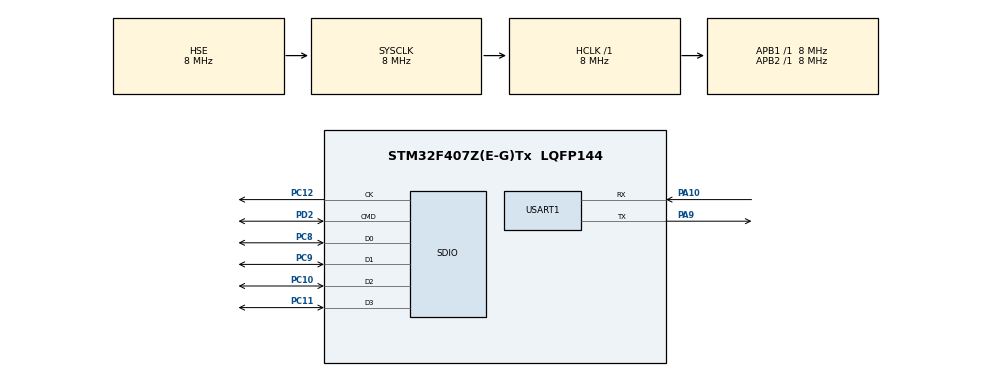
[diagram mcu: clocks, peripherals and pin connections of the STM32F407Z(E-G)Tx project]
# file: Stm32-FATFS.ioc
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Dma.Request0=USART1_RX
Dma.Request1=USART1_TX
Dma.Request2=SDIO_RX
Dma.Request3=SDIO_TX
Dma.SDIO_RX.2.Direction=DMA_PERIPH_TO_MEMORY
Dma.SDIO_RX.2.FIFOMode=DMA_FIFOMODE_ENABLE
Dma.SDIO_RX.2.FIFOThreshold=DMA_FIFO_THRESHOLD_FULL
Dma.SDIO_RX.2.Instance=DMA2_Stream3
Dma.SDIO_RX.2.MemBurst=DMA_MBURST_INC4
Dma.SDIO_RX.2.MemDataAlignment=DMA_MDATAALIGN_WORD
Dma.SDIO_RX.2.MemInc=DMA_MINC_ENABLE
Dma.SDIO_RX.2.Mode=DMA_PFCTRL
Dma.SDIO_RX.2.PeriphBurst=DMA_PBURST_INC4
Dma.SDIO_RX.2.PeriphDataAlignment=DMA_PDATAALIGN_WORD
Dma.SDIO_RX.2.PeriphInc=DMA_PINC_DISABLE
Dma.SDIO_RX.2.Priority=DMA_PRIORITY_LOW
Dma.SDIO_TX.3.Direction=DMA_MEMORY_TO_PERIPH
Dma.SDIO_TX.3.FIFOMode=DMA_FIFOMODE_ENABLE
Dma.SDIO_TX.3.FIFOThreshold=DMA_FIFO_THRESHOLD_FULL
Dma.SDIO_TX.3.Instance=DMA2_Stream6
Dma.SDIO_TX.3.MemBurst=DMA_MBURST_INC4
Dma.SDIO_TX.3.MemDataAlignment=DMA_MDATAALIGN_WORD
Dma.SDIO_TX.3.MemInc=DMA_MINC_ENABLE
Dma.SDIO_TX.3.Mode=DMA_PFCTRL
Dma.SDIO_TX.3.PeriphBurst=DMA_PBURST_INC4
Dma.SDIO_TX.3.PeriphDataAlignment=DMA_PDATAALIGN_WORD
Dma.SDIO_TX.3.PeriphInc=DMA_PINC_DISABLE
Dma.SDIO_TX.3.Priority=DMA_PRIORITY_LOW
Dma.USART1_RX.0.Direction=DMA_PERIPH_TO_MEMORY
Dma.USART1_RX.0.FIFOMode=DMA_FIFOMODE_DISABLE
Dma.USART1_RX.0.Instance=DMA2_Stream2
Dma.USART1_RX.0.MemDataAlignment=DMA_MDATAALIGN_BYTE
Dma.USART1_RX.0.MemInc=DMA_MINC_ENABLE
Dma.USART1_RX.0.Mode=DMA_NORMAL
Dma.USART1_RX.0.PeriphDataAlignment=DMA_PDATAALIGN_BYTE
Dma.USART1_RX.0.PeriphInc=DMA_PINC_DISABLE
Dma.USART1_RX.0.Priority=DMA_PRIORITY_LOW
Dma.USART1_TX.1.Direction=DMA_MEMORY_TO_PERIPH
Dma.USART1_TX.1.FIFOMode=DMA_FIFOMODE_DISABLE
Dma.USART1_TX.1.Instance=DMA2_Stream7
Dma.USART1_TX.1.MemDataAlignment=DMA_MDATAALIGN_BYTE
Dma.USART1_TX.1.MemInc=DMA_MINC_ENABLE
Dma.USART1_TX.1.Mode=DMA_NORMAL
Dma.USART1_TX.1.PeriphDataAlignment=DMA_PDATAALIGN_BYTE
Dma.USART1_TX.1.PeriphInc=DMA_PINC_DISABLE
Dma.USART1_TX.1.Priority=DMA_PRIORITY_LOW
FATFS._CODE_PAGE=936
FATFS._USE_LFN=2
FREERTOS.Tasks01=WriteTask,0,1024,StartWriteTask,Default,NULL,Dynamic,NULL,NULL;SendTask,0,1024,StartSendTask,Default,NULL,Dynamic,NULL,NULL
FREERTOS.configMINIMAL_STACK_SIZE=1024
Mcu.Family=STM32F4
Mcu.Name=STM32F407Z(E-G)Tx
Mcu.Package=LQFP144
NVIC.DMA2_Stream2_IRQn=true\:5\:0\:false\:false\:true\:true\:false\:true
NVIC.DMA2_Stream3_IRQn=true\:5\:0\:false\:false\:true\:true\:false\:true
NVIC.DMA2_Stream6_IRQn=true\:5\:0\:false\:false\:true\:true\:false\:true
NVIC.DMA2_Stream7_IRQn=true\:5\:0\:false\:false\:true\:true\:false\:true
NVIC.PriorityGroup=NVIC_PRIORITYGROUP_4
NVIC.SDIO_IRQn=true\:5\:0\:false\:false\:true\:true\:true\:true
NVIC.TIM1_UP_TIM10_IRQn=true\:15\:0\:false\:false\:true\:false\:false\:true
NVIC.TimeBase=TIM1_UP_TIM10_IRQn
NVIC.TimeBaseIP=TIM1
NVIC.USART1_IRQn=true\:5\:0\:false\:false\:true\:true\:true\:true
PA10.Mode=Asynchronous
PA10.Signal=USART1_RX
PA13.Mode=Serial_Wire
PA13.Signal=SYS_JTMS-SWDIO
PA14.Mode=Serial_Wire
PA14.Signal=SYS_JTCK-SWCLK
PA9.Mode=Asynchronous
PA9.Signal=USART1_TX
PC10.Mode=SD_4_bits_Wide_bus
PC10.Signal=SDIO_D2
PC11.Mode=SD_4_bits_Wide_bus
PC11.Signal=SDIO_D3
PC12.Mode=SD_4_bits_Wide_bus
PC12.Signal=SDIO_CK
PC14-OSC32_IN.Mode=LSE-External-Oscillator
PC14-OSC32_IN.Signal=RCC_OSC32_IN
PC15-OSC32_OUT.Mode=LSE-External-Oscillator
PC15-OSC32_OUT.Signal=RCC_OSC32_OUT
PC8.Mode=SD_4_bits_Wide_bus
PC8.Signal=SDIO_D0
PC9.Mode=SD_4_bits_Wide_bus
PC9.Signal=SDIO_D1
PD2.Mode=SD_4_bits_Wide_bus
PD2.Signal=SDIO_CMD
PH0-OSC_IN.Mode=HSE-External-Oscillator
PH0-OSC_IN.Signal=RCC_OSC_IN
PH1-OSC_OUT.Mode=HSE-External-Oscillator
PH1-OSC_OUT.Signal=RCC_OSC_OUT
ProjectManager.HeapSize=0x2000
ProjectManager.StackSize=0x2000
ProjectManager.TargetToolchain=STM32CubeIDE
RCC.48MHZClocksFreq_Value=32000000
RCC.AHBFreq_Value=8000000
RCC.APB1Freq_Value=8000000
RCC.APB1TimFreq_Value=8000000
RCC.APB2Freq_Value=8000000
RCC.APB2TimFreq_Value=8000000
RCC.CortexFreq_Value=8000000
RCC.HCLKFreq_Value=8000000
RCC.HSE_VALUE=8000000
RCC.HSI_VALUE=16000000
RCC.INSTRUCTION_CACHE_ENABLE=1
RCC.PLLM=8
RCC.PLLN=128
RCC.PLLP=RCC_PLLP_DIV4
RCC.PLLQ=8
RCC.PWR_Regulator_Voltage_Scale=PWR_REGULATOR_VOLTAGE_SCALE1
RCC.SYSCLKFreq_VALUE=8000000
RCC.SYSCLKSource=RCC_SYSCLKSOURCE_HSE
RCC.VCOOutputFreq_Value=256000000
SDIO.ClockDiv=4
USART1.VirtualMode=VM_ASYNC
VP_FATFS_VS_SDIO.Mode=SDIO
VP_FREERTOS_VS_CMSIS_V1.Mode=CMSIS_V1
VP_SYS_VS_tim1.Mode=TIM1
board=custom

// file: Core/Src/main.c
/* USER CODE BEGIN Header */
/**
  ******************************************************************************
  * @file           : main.c
  * @brief          : Main program body
  ******************************************************************************
  * @attention
  *
  * <h2><center>&copy; Copyright (c) 2022 STMicroelectronics.
  * All rights reserved.</center></h2>
  *
  * This software component is licensed by ST under Ultimate Liberty license
  * SLA0044, the "License"; You may not use this file except in compliance with
  * the License. You may obtain a copy of the License at:
  *                             www.st.com/SLA0044
  *
  ******************************************************************************
  */
/* USER CODE END Header */
#include "main.h"
#include "cmsis_os.h"
#include "fatfs.h"

/* USER CODE BEGIN Includes */
#include "stdio.h"
#include "string.h"
/* USER CODE END Includes */

/* USER CODE BEGIN PTD */
typedef enum {
    FS_WELCOME=0,
    FS_NAME_FILE,
    FS_NAME_PATH,
    FS_DELETE,
    FS_TEXT,
    FS_READ
} FS_STATUS;
/* USER CODE END PTD */

/* USER CODE BEGIN PD */
#define print(str) HAL_UART_Transmit_DMA(&huart1, (uint8_t *)(str), strlen(str)); osDelay(10)
/* USER CODE END PD */

SD_HandleTypeDef hsd;
DMA_HandleTypeDef hdma_sdio_rx;
DMA_HandleTypeDef hdma_sdio_tx;

UART_HandleTypeDef huart1;
DMA_HandleTypeDef hdma_usart1_rx;
DMA_HandleTypeDef hdma_usart1_tx;

osThreadId WriteTaskHandle;
osThreadId SendTaskHandle;
/* USER CODE BEGIN PV */
uint8_t SerialBuf[BUFFERSIZE];
unsigned char bRecFlag = 0;
unsigned char iLength = 0;
FS_STATUS Status = 0;
/* USER CODE END PV */

void SystemClock_Config(void);
static void MX_GPIO_Init(void);
static void MX_SDIO_SD_Init(void);
static void MX_DMA_Init(void);
static void MX_USART1_UART_Init(void);
void StartWriteTask(void const * argument);
void StartSendTask(void const * argument);

/* USER CODE BEGIN PFP */
void WARNING(FRESULT res);
void Welcome_Page(void);
FRESULT scan_files(const TCHAR*);
//FRESULT split_file_path(const uint8_t *file_path, char* file_name);
/* USER CODE END PFP */

/* USER CODE BEGIN 0 */
void WARNING(FRESULT res)
{
    char local_temp[64];
    sprintf(local_temp, "Something wrong. Code: %d\r\n", res);
    print(local_temp);
    print("Return to Welcome Page.\r\n");
}

void Welcome_Page(void)
{
    print("Welcome to the FATFS System. Please choose your operation.\r\n");
    print("(For example, Input 'C1' for Operation 1)\r\n");
    print("1. List all files currently\r\n");
    print("2. Create a new file\r\n");
    print("3. Create a new directory\r\n");
    print("4. Delete a existed file\r\n");
    print("5. Modify a file (Enter 'q/Q' to quit)\r\n");
    print("6. Read a file\r\n");
    print("********************\r\n");
}

FRESULT scan_files(const TCHAR* path)
{
    static FILINFO fno;     // Define file information obj
    FRESULT res;            // Define result obj
    DIR dir;                // Define directory obj
    char pathBuf[32]={0};      // Define path array
    char fileBuf[64]={0};       // Define file array
    unsigned char i;

    memcpy(pathBuf, path, strlen(path));
    res = f_opendir(&dir, path);
    if(res == FR_OK)
    {
        for(;;)
        {
            res = f_readdir(&dir, &fno); // Read directory, Return the result and point to file information
            if(res != FR_OK || fno.fname[0] == 0) // Open failed or end of diretory
                break;
            if(fno.fattrib == AM_DIR)   // This is a directory instead of file
            {
                i = strlen(pathBuf);    // Get the path's original length
                sprintf(&pathBuf[i], "/%s", fno.fname);
                res = scan_files(pathBuf);
                if(res != FR_OK)
                    break;
                pathBuf[i] = 0;
            }
            else
            {
                sprintf(fileBuf, "--%s/%s\r\n", path, fno.fname);
                print(fileBuf);
            }
        }
    }
    else
    {
        char temp[64];
        sprintf(temp, "Open Directory Failed. Please Check: %s\r\n", (const char *)(res+'0'));
        print(temp);
    }

    f_closedir(&dir);   // close directory
    return res;
}
/* USER CODE END 0 */

int main(void)
{

    /* MCU Configuration--------------------------------------------------------*/

    /* Reset of all peripherals, Initializes the Flash interface and the Systick. */
    HAL_Init();

    /* Configure the system clock */
    SystemClock_Config();

    /* Initialize all configured peripherals */
    MX_GPIO_Init();
    MX_SDIO_SD_Init();
    MX_DMA_Init();
    MX_USART1_UART_Init();
    MX_FATFS_Init();
    /* USER CODE BEGIN 2 */
    print("******** Stm32-FATFS Program ********\r\n");
    /* USER CODE END 2 */

    /* Create the thread(s) */
    /* definition and creation of WriteTask */
    osThreadDef(WriteTask, StartWriteTask, osPriorityNormal, 0, 1024);
    WriteTaskHandle = osThreadCreate(osThread(WriteTask), NULL);

    /* definition and creation of SendTask */
    osThreadDef(SendTask, StartSendTask, osPriorityNormal, 0, 1024);
    SendTaskHandle = osThreadCreate(osThread(SendTask), NULL);

    /* Start scheduler */
    osKernelStart();

    /* We should never get here as control is now taken by the scheduler */
    /* Infinite loop */
    while (1)
    {

    }
}

void SystemClock_Config(void)
{
    RCC_OscInitTypeDef RCC_OscInitStruct = {0};
    RCC_ClkInitTypeDef RCC_ClkInitStruct = {0};

    /** Configure the main internal regulator output voltage
    */
    __HAL_RCC_PWR_CLK_ENABLE();
    __HAL_PWR_VOLTAGESCALING_CONFIG(PWR_REGULATOR_VOLTAGE_SCALE1);
    /** Initializes the RCC Oscillators according to the specified parameters
    * in the RCC_OscInitTypeDef structure.
    */
    RCC_OscInitStruct.OscillatorType = RCC_OSCILLATORTYPE_HSI|RCC_OSCILLATORTYPE_HSE;
    RCC_OscInitStruct.HSEState = RCC_HSE_ON;
    RCC_OscInitStruct.HSIState = RCC_HSI_ON;
    RCC_OscInitStruct.HSICalibrationValue = RCC_HSICALIBRATION_DEFAULT;
    RCC_OscInitStruct.PLL.PLLState = RCC_PLL_ON;
    RCC_OscInitStruct.PLL.PLLSource = RCC_PLLSOURCE_HSI;
    RCC_OscInitStruct.PLL.PLLM = 8;
    RCC_OscInitStruct.PLL.PLLN = 128;
    RCC_OscInitStruct.PLL.PLLP = RCC_PLLP_DIV4;
    RCC_OscInitStruct.PLL.PLLQ = 8;
    if (HAL_RCC_OscConfig(&RCC_OscInitStruct) != HAL_OK)
    {
        Error_Handler();
    }
    /** Initializes the CPU, AHB and APB buses clocks
    */
    RCC_ClkInitStruct.ClockType = RCC_CLOCKTYPE_HCLK|RCC_CLOCKTYPE_SYSCLK
                                  |RCC_CLOCKTYPE_PCLK1|RCC_CLOCKTYPE_PCLK2;
    RCC_ClkInitStruct.SYSCLKSource = RCC_SYSCLKSOURCE_HSE;
    RCC_ClkInitStruct.AHBCLKDivider = RCC_SYSCLK_DIV1;
    RCC_ClkInitStruct.APB1CLKDivider = RCC_HCLK_DIV1;
    RCC_ClkInitStruct.APB2CLKDivider = RCC_HCLK_DIV1;

    if (HAL_RCC_ClockConfig(&RCC_ClkInitStruct, FLASH_LATENCY_0) != HAL_OK)
    {
        Error_Handler();
    }
}

static void MX_SDIO_SD_Init(void)
{

    hsd.Instance = SDIO;
    hsd.Init.ClockEdge = SDIO_CLOCK_EDGE_RISING;
    hsd.Init.ClockBypass = SDIO_CLOCK_BYPASS_DISABLE;
    hsd.Init.ClockPowerSave = SDIO_CLOCK_POWER_SAVE_DISABLE;
    hsd.Init.BusWide = SDIO_BUS_WIDE_1B;
    hsd.Init.HardwareFlowControl = SDIO_HARDWARE_FLOW_CONTROL_DISABLE;
    hsd.Init.ClockDiv = 4;

}

static void MX_USART1_UART_Init(void)
{

    huart1.Instance = USART1;
    huart1.Init.BaudRate = 115200;
    huart1.Init.WordLength = UART_WORDLENGTH_8B;
    huart1.Init.StopBits = UART_STOPBITS_1;
    huart1.Init.Parity = UART_PARITY_NONE;
    huart1.Init.Mode = UART_MODE_TX_RX;
    huart1.Init.HwFlowCtl = UART_HWCONTROL_NONE;
    huart1.Init.OverSampling = UART_OVERSAMPLING_16;
    if (HAL_UART_Init(&huart1) != HAL_OK)
    {
        Error_Handler();
    }
    /* USER CODE BEGIN USART1_Init 2 */
    __HAL_UART_ENABLE_IT(&huart1, UART_IT_IDLE);
    /* USER CODE END USART1_Init 2 */

}

static void MX_DMA_Init(void)
{

    /* DMA controller clock enable */
    __HAL_RCC_DMA2_CLK_ENABLE();

    /* DMA interrupt init */
    /* DMA2_Stream2_IRQn interrupt configuration */
    HAL_NVIC_SetPriority(DMA2_Stream2_IRQn, 5, 0);
    HAL_NVIC_EnableIRQ(DMA2_Stream2_IRQn);
    /* DMA2_Stream3_IRQn interrupt configuration */
    HAL_NVIC_SetPriority(DMA2_Stream3_IRQn, 5, 0);
    HAL_NVIC_EnableIRQ(DMA2_Stream3_IRQn);
    /* DMA2_Stream6_IRQn interrupt configuration */
    HAL_NVIC_SetPriority(DMA2_Stream6_IRQn, 5, 0);
    HAL_NVIC_EnableIRQ(DMA2_Stream6_IRQn);
    /* DMA2_Stream7_IRQn interrupt configuration */
    HAL_NVIC_SetPriority(DMA2_Stream7_IRQn, 5, 0);
    HAL_NVIC_EnableIRQ(DMA2_Stream7_IRQn);

}

static void MX_GPIO_Init(void)
{

    /* GPIO Ports Clock Enable */
    __HAL_RCC_GPIOC_CLK_ENABLE();
    __HAL_RCC_GPIOH_CLK_ENABLE();
    __HAL_RCC_GPIOA_CLK_ENABLE();
    __HAL_RCC_GPIOD_CLK_ENABLE();

}

void StartWriteTask(void const * argument)
{
    /* USER CODE BEGIN 5 */
    /* Infinite loop */
    for(;;)
    {
        osDelay(1000);
    }
    /* USER CODE END 5 */
}

void StartSendTask(void const * argument)
{
    /* USER CODE BEGIN StartSendTask */
    FATFS FatFs;
    // The Controller state machine
    HAL_UART_Receive_DMA(&huart1, (uint8_t *)SerialBuf, sizeof SerialBuf);
    // Enter Welcome Page if SD mounted succeed
    if(f_mount(&FatFs, SDPath, 0) == FR_OK)
        Welcome_Page();
    /* Infinite loop */
    for(;;)
    {
        if(bRecFlag)
        {
            // 1. Receive
            uint8_t datalength = BUFFERSIZE - __HAL_DMA_GET_COUNTER(&hdma_usart1_rx);
            iLength += datalength;
            // 2. Analyze message
            char temp[2] = {0};
            switch (Status)
            {
                case FS_WELCOME:
                    if( datalength != 2)
                    {
                        print("Invalid input. Please input again.\r\n");
                        break;
                    }
                    memcpy(temp, SerialBuf, 2);
                    if(memcmp(temp, "C1", 2) == 0)
                    {
                        // List all files
                        scan_files("0:");
                    }else if(memcmp(temp, "C2", 2) == 0)
                    {
                        // Create a new file
                        print("Enter complete path of the file to Create, like '0:/02-22/Test.TXT'\r\n");
                        Status = FS_NAME_FILE;
                    }else if(memcmp(temp, "C3", 2) == 0)
                    {
                        // Create a new directory
                        print("Enter name of the directory, like '02-22'\r\n");
                        Status = FS_NAME_PATH;
                    }else if(memcmp(temp, "C4", 2) == 0)
                    {
                        // Delete a existed file
                        print("Enter complete path of the file to Delete, like '0:/02-22/Test.TXT'\r\n");
                        Status = FS_DELETE;
                    }else if(memcmp(temp, "C5", 2) == 0)
                    {
                        // Modify a file
                        print("Enter complete path of the file to Modify, like '0:/02-22/Test.TXT'\r\n");
                        Status = FS_TEXT;
                    }else if(memcmp(temp, "C6", 2) == 0)
                    {
                        print("Enter complete path of the file to Read, like '0:/02-22/Test.TXT'\r\n");
                        Status = FS_READ;
                    }
                    break;
                case FS_NAME_FILE:
                {
                    // 1. Split the name, directory
                    TCHAR file_name[32]={0};
                    FRESULT res;
                    memcpy(file_name, SerialBuf, strlen((const char *)SerialBuf));
                    FIL file={0};
                    // 2. Create the new file
                    res = f_open(&file, file_name, FA_CREATE_NEW | FA_READ | FA_WRITE);
                    if(res == FR_OK)
                    {
                        print("File Created!\r\n");
                        f_close(&file);
                    } else WARNING(res);
                    // 3. Return to Welcome Page
                    Status = FS_WELCOME;
                    break;
                }
                case FS_NAME_PATH:  // Basically same with FS_NAME_FILE
                {
                    // 1. Get the path
                    char path[32]={0};
                    FRESULT res;
                    memcpy(path, SerialBuf, strlen((const char *)SerialBuf));
                    // 2. Create the new directory
                    res = f_mkdir(path);
                    if(res == FR_OK)
                    {
                        print("Create Directory Succeed!\r\n");
                    } else WARNING(res);
                    // 3. Return to Welcome Page
                    Status = FS_WELCOME;
                    break;
                }
                case FS_DELETE:
                {
                    // 1. Get the path
                    FRESULT res;
                    char path[32]={0};
                    memcpy(path, SerialBuf, strlen((const char *)SerialBuf));
                    // 2. Create the new directory
                    res = f_unlink(path);
                    if(res == FR_OK)
                    {
                        print("File Deleted!\r\n");
                    } else WARNING(res);
                    // 3. Return to Welcome Page
                    Status = FS_WELCOME;
                    break;
                }
                case FS_TEXT:
                {
                    static char path[32] = {0};
                    char writeBuf[BUFFERSIZE] = {0};
                    FIL file={0};

                    // 0. Get File Name at the first time
                    if((*path) == '\0')
                    {
                        memcpy(path, SerialBuf, strlen((const char *)SerialBuf));
                        print("Enter Your words row-wise: \r\n");
                        break;
                    }
                    // 1. Check if jump out
                    if(iLength == 1 && (SerialBuf[0] == 'q' || SerialBuf[0] == 'Q'))
                    {
                        print("Files Modified\r\n");
                        memset(path, 0, 32);
                        Status = FS_WELCOME;
                        break;
                    }
                    // 2. Open file in Append mode and write it
                    if( f_open(&file, path, FA_OPEN_APPEND | FA_READ | FA_WRITE) == FR_OK)
                    {
                        unsigned char len = strlen(SerialBuf);
                        // Make sure len does not cross the border
                        len = len < 254 ? len : len - 2;
                        memcpy(writeBuf, SerialBuf, len);
                        // To add a new line at the end of each sentence.
                        writeBuf[len] = '\r';
                        writeBuf[len+1] = '\n';
                        f_write(&file, writeBuf, len+2, NULL);
                        f_close(&file);
                    }
                    break;
                }
                case FS_READ:
                {
                    char len = 0 ;
                    char path[32] = {0};
                    char readBuf[BUFFERSIZE] = {0};
                    FIL file={0};

                    // 0. Get File Name at the first time
                    memcpy(path, SerialBuf, strlen((const char *)SerialBuf));

                    // 1. Open file in READ mode
                    if( f_open(&file, path, FA_READ) == FR_OK)
                    {
                        while(!f_eof(&file))
                        {
                            // f_gets() automatically moves the file pointer
                            // no need to increase the flseek
                            f_gets(readBuf, BUFFERSIZE, &file);
                            print(readBuf);
                            memset(readBuf, 0, BUFFERSIZE);
                        }
                    }
                    // 2. Return to Welcome Page
                    Status = FS_WELCOME;
                    break;
                }
                default:
                    break;
            }

            // 3. Clear Receive buff
            memset(SerialBuf, 0, iLength);
            iLength = 0;
            // 4. Return to receive uart data
            bRecFlag = 0;
            HAL_DMA_DeInit(&hdma_usart1_rx);
            HAL_DMA_Init(&hdma_usart1_rx);
            HAL_UART_Receive_DMA(&huart1, (uint8_t*)SerialBuf, BUFFERSIZE);
        }

    }
    /* USER CODE END StartSendTask */
}

void HAL_TIM_PeriodElapsedCallback(TIM_HandleTypeDef *htim)
{
    if (htim->Instance == TIM1) {
        HAL_IncTick();
    }
}

void Error_Handler(void)
{
    __disable_irq();
    while (1)
    {
    }
}

/************************ (C) COPYRIGHT STMicroelectronics *****END OF FILE****/
